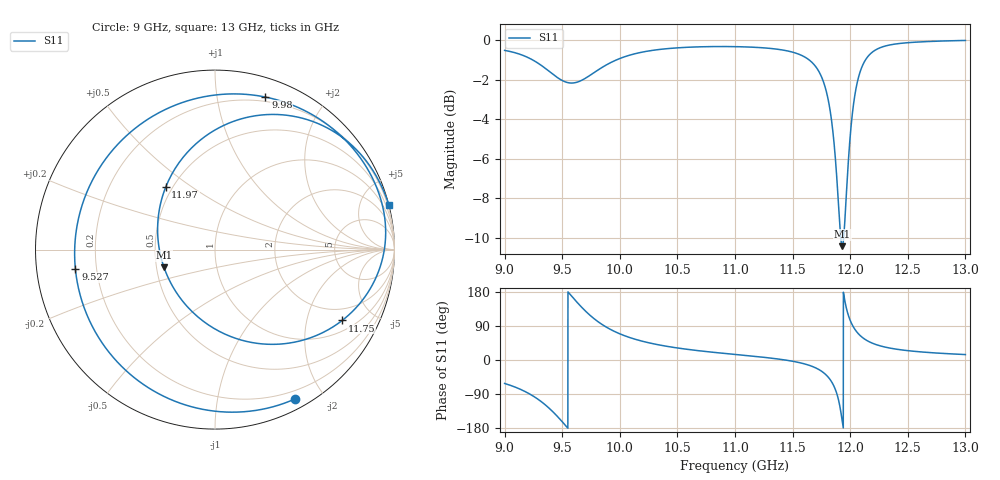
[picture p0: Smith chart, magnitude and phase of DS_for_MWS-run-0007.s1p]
! TOUCHSTONE file generated by CST DESIGN STUDIO
! Date and time: Tue Feb  4 18:03:03 2025
! Project name: C:\Work\MatlabApps\UnitCellOptimizationMatlab\CST\unitcell.cst
! Tree item: Tasks\Sweep1\SPara1\S-Parameters
! Header version: 2024
! Port assignment regex: !\s*Touchstone port\s*([0-9]+)\s*=\s*(CST MWS port|CST DES external port|CST DES block port)\s*(.+)\s* \(\"(.*)\"\)(\s*mode\s*([0-9]+))?.*
! Touchstone port assignment:
! Touchstone port 1 = CST DES external port 1 ("")
# GHz S MA R 50
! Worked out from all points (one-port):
!   4001 points, 9 GHz to 13 GHz, reference 50 ohm
!   lowest |S11| = -10.4 dB at 11.93 GHz (marker M1), VSWR 1.86, Z = 27.4 - j5.88 ohm
!   |S11| at or under -10 dB: 11.91819 GHz to 11.94328 GHz (25.09 MHz wide, 0.21 % of centre)
!   S11 on the Smith chart (normalised r, x): 9 GHz: 0.11, -1.66; 9.527 GHz: 0.12, -0.07; 9.98 GHz: 0.16, +1.37; 11.75 GHz: 1.42, -3.28; 11.97 GHz: 0.46, +0.40; 13 GHz: -0.00, +7.96
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9  0.9438 -61.9
9.145  0.92 -78.4
9.294  0.8744 -104.4
9.396  0.8311 -129.9
9.5  0.7916 -162.8
9.527  0.7853 -172.2
9.621  0.7827 154.9
9.741  0.8158 118.1
9.846  0.8544 93.7
9.98  0.8952 71.7
10  0.9001 69.1
10.215  0.9368 48.0
10.5  0.958 31.7
11  0.9647 14.7
11.5  0.9341 -3.3
11.651  0.8891 -14.7
11.749  0.8113 -29.1
11.807  0.7123 -44.5
11.86  0.5487 -69.7
11.895  0.3987 -100.9
11.931  0.3009 -161.1
11.974  0.4435 128.2
12  0.5719 104.5
12.063  0.7868 72.0
12.175  0.925 46.7
12.302  0.9678 34.1
12.5  0.9872 24.6
13  1 14.3
